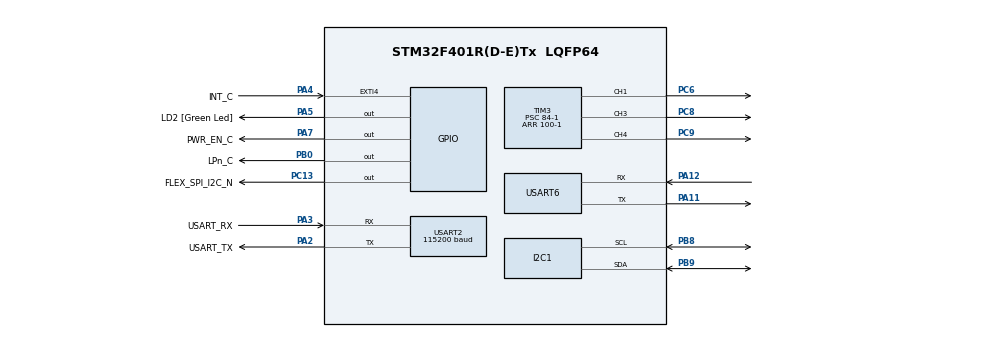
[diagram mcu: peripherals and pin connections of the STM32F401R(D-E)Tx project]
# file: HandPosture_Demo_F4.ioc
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I2C1.I2C_Mode=I2C_Fast
Mcu.Family=STM32F4
Mcu.Name=STM32F401R(D-E)Tx
Mcu.Package=LQFP64
NVIC.EXTI4_IRQn=true\:0\:0\:false\:false\:true\:true\:true\:true
NVIC.PriorityGroup=NVIC_PRIORITYGROUP_0
NVIC.USART2_IRQn=true\:0\:0\:false\:false\:true\:true\:true\:true
PA11.GPIO_PuPd=GPIO_PULLDOWN
PA11.GPIO_Speed=GPIO_SPEED_FREQ_MEDIUM
PA11.Mode=Asynchronous
PA11.Signal=USART6_TX
PA12.GPIO_PuPd=GPIO_PULLDOWN
PA12.GPIO_Speed=GPIO_SPEED_FREQ_MEDIUM
PA12.Mode=Asynchronous
PA12.Signal=USART6_RX
PA13.GPIO_Label=TMS
PA13.Mode=Serial_Wire
PA13.Signal=SYS_JTMS-SWDIO
PA14.GPIO_Label=TCK
PA14.Mode=Serial_Wire
PA14.Signal=SYS_JTCK-SWCLK
PA2.GPIO_Label=USART_TX
PA2.GPIO_Mode=GPIO_MODE_AF_PP
PA2.GPIO_PuPd=GPIO_NOPULL
PA2.GPIO_Speed=GPIO_SPEED_FREQ_LOW
PA2.Mode=Asynchronous
PA2.Signal=USART2_TX
PA3.GPIO_Label=USART_RX
PA3.GPIO_Mode=GPIO_MODE_AF_PP
PA3.GPIO_PuPd=GPIO_NOPULL
PA3.GPIO_Speed=GPIO_SPEED_FREQ_LOW
PA3.Mode=Asynchronous
PA3.Signal=USART2_RX
PA4.GPIO_Label=INT_C
PA4.GPIO_ModeDefaultEXTI=GPIO_MODE_IT_FALLING
PA4.Signal=GPXTI4
PA5.GPIO_Label=LD2 [Green Led]
PA5.GPIO_Mode=GPIO_MODE_OUTPUT_PP
PA5.GPIO_PuPd=GPIO_NOPULL
PA5.GPIO_Speed=GPIO_SPEED_FREQ_LOW
PA5.Signal=GPIO_Output
PA7.GPIO_Label=PWR_EN_C
PA7.GPIO_ModeDefaultOutputPP=GPIO_MODE_OUTPUT_PP
PA7.GPIO_PuPd=GPIO_NOPULL
PA7.GPIO_Speed=GPIO_SPEED_FREQ_LOW
PA7.Signal=GPIO_Output
PB0.GPIO_Label=LPn_C
PB0.GPIO_PuPd=GPIO_NOPULL
PB0.GPIO_Speed=GPIO_SPEED_FREQ_HIGH
PB0.Signal=GPIO_Output
PB8.Mode=I2C
PB8.Signal=I2C1_SCL
PB9.Mode=I2C
PB9.Signal=I2C1_SDA
PC13-ANTI_TAMP.GPIO_Label=FLEX_SPI_I2C_N
PC13-ANTI_TAMP.GPIO_PuPd=GPIO_NOPULL
PC13-ANTI_TAMP.PinState=GPIO_PIN_RESET
PC13-ANTI_TAMP.Signal=GPIO_Output
PC14-OSC32_IN.Mode=LSE-External-Oscillator
PC14-OSC32_IN.Signal=RCC_OSC32_IN
PC15-OSC32_OUT.Mode=LSE-External-Oscillator
PC15-OSC32_OUT.Signal=RCC_OSC32_OUT
PC6.Signal=S_TIM3_CH1
PC8.Signal=S_TIM3_CH3
PC9.Signal=S_TIM3_CH4
PH0\ -\ OSC_IN.Mode=HSE-External-Clock-Source
PH0\ -\ OSC_IN.Signal=RCC_OSC_IN
PH1\ -\ OSC_OUT.Mode=HSE-External-Clock-Source
PH1\ -\ OSC_OUT.Signal=RCC_OSC_OUT
ProjectManager.HeapSize=0x800
ProjectManager.StackSize=0x800
ProjectManager.TargetToolchain=STM32CubeIDE
RCC.48MHZClocksFreq_Value=48000000
RCC.AHBFreq_Value=84000000
RCC.APB1CLKDivider=RCC_HCLK_DIV2
RCC.APB1Freq_Value=42000000
RCC.APB1TimFreq_Value=84000000
RCC.APB2Freq_Value=84000000
RCC.APB2TimFreq_Value=84000000
RCC.CortexFreq_Value=84000000
RCC.HCLKFreq_Value=84000000
RCC.HSE_VALUE=8000000
RCC.HSI_VALUE=16000000
RCC.PLLN=336
RCC.PLLP=RCC_PLLP_DIV4
RCC.PLLQ=7
RCC.SYSCLKFreq_VALUE=84000000
RCC.SYSCLKSource=RCC_SYSCLKSOURCE_PLLCLK
RCC.VCOOutputFreq_Value=336000000
SH.S_TIM3_CH1.0=TIM3_CH1,PWM Generation1 CH1
SH.S_TIM3_CH3.0=TIM3_CH3,PWM Generation3 CH3
SH.S_TIM3_CH4.0=TIM3_CH4,PWM Generation4 CH4
STMicroelectronics.X-CUBE-AI.9.0.0.ActivationBufferSizeList=1024
STMicroelectronics.X-CUBE-AI.9.0.0.ActivationBuffers=pool0
STMicroelectronics.X-CUBE-AI.9.0.0.ActivationNames=pool0
STMicroelectronics.X-CUBE-AI.9.0.0.ActivationSizes=AI_NETWORK_DATA_ACTIVATION_1_SIZE
STMicroelectronics.X-CUBE-AI.9.0.0.HeapSize=0x800
STMicroelectronics.X-CUBE-AI.9.0.0.InternalRamActivationBufferMaxSize=AI_NETWORK_DATA_ACTIVATIONS_SIZE
STMicroelectronics.X-CUBE-AI.9.0.0.LatestDirectoryUsed-259f741db4d4b8b54389044fdb152ca7c530ae305709a885f32d9b1bf1bcc376=C\:\\Users\\LeeJH\\Desktop\\HandPosture
STMicroelectronics.X-CUBE-AI.9.0.0.MaximumNumberOfInputLayer=1
STMicroelectronics.X-CUBE-AI.9.0.0.MaximumNumberOfOutputLayer=1
STMicroelectronics.X-CUBE-AI.9.0.0.MaximumSizeOfInputLayer=1
STMicroelectronics.X-CUBE-AI.9.0.0.MaximumSizeOfOutputLayer=1
STMicroelectronics.X-CUBE-AI.9.0.0.ModelActualCompression-259f741db4d4b8b54389044fdb152ca7c530ae305709a885f32d9b1bf1bcc376=0.0
STMicroelectronics.X-CUBE-AI.9.0.0.ModelCompression-259f741db4d4b8b54389044fdb152ca7c530ae305709a885f32d9b1bf1bcc376=None
STMicroelectronics.X-CUBE-AI.9.0.0.ModelFlashOccupation-259f741db4d4b8b54389044fdb152ca7c530ae305709a885f32d9b1bf1bcc376=11008
STMicroelectronics.X-CUBE-AI.9.0.0.ModelHashList=259f741db4d4b8b54389044fdb152ca7c530ae305709a885f32d9b1bf1bcc376
STMicroelectronics.X-CUBE-AI.9.0.0.ModelKind-259f741db4d4b8b54389044fdb152ca7c530ae305709a885f32d9b1bf1bcc376=KERAS
STMicroelectronics.X-CUBE-AI.9.0.0.ModelMacc-259f741db4d4b8b54389044fdb152ca7c530ae305709a885f32d9b1bf1bcc376=8520
STMicroelectronics.X-CUBE-AI.9.0.0.ModelName-259f741db4d4b8b54389044fdb152ca7c530ae305709a885f32d9b1bf1bcc376=network
STMicroelectronics.X-CUBE-AI.9.0.0.ModelNameList=network
STMicroelectronics.X-CUBE-AI.9.0.0.ModelRamOccupation-259f741db4d4b8b54389044fdb152ca7c530ae305709a885f32d9b1bf1bcc376=1024
STMicroelectronics.X-CUBE-AI.9.0.0.ModelStructureFile-259f741db4d4b8b54389044fdb152ca7c530ae305709a885f32d9b1bf1bcc376=CNN2D_ST_HandPosture_8classes.h5
STMicroelectronics.X-CUBE-AI.9.0.0.ModelType-259f741db4d4b8b54389044fdb152ca7c530ae305709a885f32d9b1bf1bcc376=STM32Cube.AI MCU runtime
STMicroelectronics.X-CUBE-AI.9.0.0.ReadyForCodeGeneration=true
STMicroelectronics.X-CUBE-AI.9.0.0.StackSize=0x800
STMicroelectronics.X-CUBE-AI.9.0.0.WorkingBufferStartAddrList=0xFFFFFFFF
STMicroelectronics.X-CUBE-AI.9.0.0.XAaCUBEAaAICcArtificialOoIntelligenceJjCore=true
STMicroelectronics.X-CUBE-AI.9.0.0.copyWeightToRam-259f741db4d4b8b54389044fdb152ca7c530ae305709a885f32d9b1bf1bcc376=false
STMicroelectronics.X-CUBE-AI.9.0.0.customLayerConfigEnabled-259f741db4d4b8b54389044fdb152ca7c530ae305709a885f32d9b1bf1bcc376=false
STMicroelectronics.X-CUBE-AI.9.0.0.noOnnxIoTranspose-259f741db4d4b8b54389044fdb152ca7c530ae305709a885f32d9b1bf1bcc376=false
STMicroelectronics.X-CUBE-AI.9.0.0.useInputAllocation-259f741db4d4b8b54389044fdb152ca7c530ae305709a885f32d9b1bf1bcc376=true
STMicroelectronics.X-CUBE-AI.9.0.0.useOutputAllocation-259f741db4d4b8b54389044fdb152ca7c530ae305709a885f32d9b1bf1bcc376=true
TIM3.Channel-PWM\ Generation1\ CH1=TIM_CHANNEL_1
TIM3.Channel-PWM\ Generation3\ CH3=TIM_CHANNEL_3
TIM3.Channel-PWM\ Generation4\ CH4=TIM_CHANNEL_4
TIM3.Period=100-1
TIM3.Prescaler=84-1
TIM3.Pulse-PWM\ Generation1\ CH1=0
TIM3.Pulse-PWM\ Generation3\ CH3=0
TIM3.Pulse-PWM\ Generation4\ CH4=0
USART2.BaudRate=115200
USART2.VirtualMode=VM_ASYNC
USART6.VirtualMode=VM_ASYNC
VP_STMicroelectronics.X-CUBE-AI_VS_ArtificialOoIntelligenceJjXAaCUBEAaAI_9.0.0.Mode=ArtificialOoIntelligenceJjXAaCUBEAaAI
VP_TIM3_VS_ClockSourceINT.Mode=Internal
board=NUCLEO-F401RE

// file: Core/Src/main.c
/* USER CODE BEGIN Header */
/**
 ******************************************************************************
 * @file           : main.c
 * @brief          : Main program body
 ******************************************************************************
 * @attention
 *
 * Copyright (c) 2024 STMicroelectronics.
 * All rights reserved.
 *
 * This software is licensed under terms that can be found in the LICENSE file
 * in the root directory of this software component.
 * If no LICENSE file comes with this software, it is provided AS-IS.
 *
 ******************************************************************************
 */
/* USER CODE END Header */
#include "main.h"

/* USER CODE BEGIN Includes */

#include "app_comm.h"
#include "app_sensor.h"
#include "gwmz.h"
#include "gestures_example.h"

/* USER CODE END Includes */

/* USER CODE BEGIN PTD */

/* Classes */
const char *classes_table[NB_CLASSES] = { "None", "FlatHand", "Like", "Love", "Dislike", "BreakTime", "CrossHands", "Fist" };

/* Application context */
AppConfig_TypeDef App_Config;

GW_proc_t gest_predictor;
HT_proc_t hand_tracker;
SEN_data_t sensor_data;

SensorTxData_t SensorTxData;
uint8_t UartTxBuffer[11] = {0,};

/* USER CODE END PTD */

I2C_HandleTypeDef hi2c1;

TIM_HandleTypeDef htim3;

UART_HandleTypeDef huart2;
UART_HandleTypeDef huart6;

void SystemClock_Config(void);
static void MX_GPIO_Init(void);
static void MX_I2C1_Init(void);
static void MX_USART2_UART_Init(void);
static void MX_TIM3_Init(void);
static void MX_USART6_UART_Init(void);
/* USER CODE BEGIN PFP */

static void Software_Init(AppConfig_TypeDef*);

/* USER CODE END PFP */

int main(void)
{

	/* MCU Configuration--------------------------------------------------------*/

	/* Reset of all peripherals, Initializes the Flash interface and the Systick. */
	HAL_Init();

	/* Configure the system clock */
	SystemClock_Config();

	/* USER CODE BEGIN SysInit */

	//__HAL_RCC_CRC_CLK_ENABLE();
	/* USER CODE END SysInit */

	/* Initialize all configured peripherals */
	MX_GPIO_Init();
	MX_I2C1_Init();
	MX_USART2_UART_Init();
	MX_TIM3_Init();
	MX_USART6_UART_Init();
	/* USER CODE BEGIN 2 */

	printf("Start Hand Posture Sensing..\r\n");

	/* Perform HW configuration (sensor) related to the application  */
	Sensor_Init(&App_Config);

	/* Perform SW configuration related to the application  */
	Software_Init(&App_Config);

	/* Initialize the Neural Network library  */
	Network_Init(&App_Config);

	/* Start communication */
	Comm_Start(&App_Config);

	/* Hand gesture lib init */
	gesture_library_init_configure();

	/* Sensor ranging start */
	Sensor_StartRanging(&App_Config);

	printf("Sensor init done..\r\n");

	/* USER CODE END 2 */

	/* Infinite loop */
	while (1)
	{

		/* USER CODE BEGIN 3 */

		/* Handle a command if one has been received */
		Comm_HandleRxCMD(&App_Config);

		if (App_Config.app_run)
		{
			/* Wait for available ranging data */
			Sensor_GetRangingData(&App_Config);

			if (App_Config.new_data_received)
			{
				/* Pre-process data */
				Network_Preprocess(&App_Config);

				/* Run inference */
				Network_Inference(&App_Config);

				/* Post-process data */
				Network_Postprocess(&App_Config);

				Add_SensorTxData_Network(&App_Config, &SensorTxData);

				/* Data set to gesture algorithm */
				SEN_CopyRangingData(&sensor_data, &App_Config.RangingData);

				/* Gesture algorithm Run */
				GW_run(&gest_predictor, &hand_tracker, &sensor_data);

				/* Print gesture algorithm result */
				//Gesture_print_uart();

				Add_SensorTxData_Gesture(&SensorTxData);

				SensorTxData.StartByte = 'A';
				SensorTxData.EndByte = 'Z';
				memcpy(UartTxBuffer, &SensorTxData, sizeof(UartTxBuffer));

				HAL_UART_Transmit(&huart6, UartTxBuffer, sizeof(UartTxBuffer), 1000);

//				printf("Tx Buffer ");
//				for(uint8_t i = 0; i < sizeof(UartTxBuffer); i++)
//				{
//					printf("%d, ", UartTxBuffer[i]);
//				}
//				printf("\r\n");
			}
		}
	}
}
/* USER CODE END 3 */

void SystemClock_Config(void)
{
RCC_OscInitTypeDef RCC_OscInitStruct = { 0 };
RCC_ClkInitTypeDef RCC_ClkInitStruct = { 0 };

/** Configure the main internal regulator output voltage
 */
__HAL_RCC_PWR_CLK_ENABLE();
__HAL_PWR_VOLTAGESCALING_CONFIG(PWR_REGULATOR_VOLTAGE_SCALE2);

/** Initializes the RCC Oscillators according to the specified parameters
 * in the RCC_OscInitTypeDef structure.
 */
RCC_OscInitStruct.OscillatorType = RCC_OSCILLATORTYPE_HSI;
RCC_OscInitStruct.HSIState = RCC_HSI_ON;
RCC_OscInitStruct.HSICalibrationValue = RCC_HSICALIBRATION_DEFAULT;
RCC_OscInitStruct.PLL.PLLState = RCC_PLL_ON;
RCC_OscInitStruct.PLL.PLLSource = RCC_PLLSOURCE_HSI;
RCC_OscInitStruct.PLL.PLLM = 16;
RCC_OscInitStruct.PLL.PLLN = 336;
RCC_OscInitStruct.PLL.PLLP = RCC_PLLP_DIV4;
RCC_OscInitStruct.PLL.PLLQ = 7;
if (HAL_RCC_OscConfig(&RCC_OscInitStruct) != HAL_OK)
{
	Error_Handler();
}

/** Initializes the CPU, AHB and APB buses clocks
 */
RCC_ClkInitStruct.ClockType = RCC_CLOCKTYPE_HCLK | RCC_CLOCKTYPE_SYSCLK
		| RCC_CLOCKTYPE_PCLK1 | RCC_CLOCKTYPE_PCLK2;
RCC_ClkInitStruct.SYSCLKSource = RCC_SYSCLKSOURCE_PLLCLK;
RCC_ClkInitStruct.AHBCLKDivider = RCC_SYSCLK_DIV1;
RCC_ClkInitStruct.APB1CLKDivider = RCC_HCLK_DIV2;
RCC_ClkInitStruct.APB2CLKDivider = RCC_HCLK_DIV1;

if (HAL_RCC_ClockConfig(&RCC_ClkInitStruct, FLASH_LATENCY_2) != HAL_OK)
{
	Error_Handler();
}
}

static void MX_I2C1_Init(void)
{

hi2c1.Instance = I2C1;
hi2c1.Init.ClockSpeed = 400000;
hi2c1.Init.DutyCycle = I2C_DUTYCYCLE_2;
hi2c1.Init.OwnAddress1 = 0;
hi2c1.Init.AddressingMode = I2C_ADDRESSINGMODE_7BIT;
hi2c1.Init.DualAddressMode = I2C_DUALADDRESS_DISABLE;
hi2c1.Init.OwnAddress2 = 0;
hi2c1.Init.GeneralCallMode = I2C_GENERALCALL_DISABLE;
hi2c1.Init.NoStretchMode = I2C_NOSTRETCH_DISABLE;
if (HAL_I2C_Init(&hi2c1) != HAL_OK)
{
	Error_Handler();
}

}

static void MX_TIM3_Init(void)
{

TIM_ClockConfigTypeDef sClockSourceConfig = { 0 };
TIM_MasterConfigTypeDef sMasterConfig = { 0 };
TIM_OC_InitTypeDef sConfigOC = { 0 };

htim3.Instance = TIM3;
htim3.Init.Prescaler = 84 - 1;
htim3.Init.CounterMode = TIM_COUNTERMODE_UP;
htim3.Init.Period = 100 - 1;
htim3.Init.ClockDivision = TIM_CLOCKDIVISION_DIV1;
htim3.Init.AutoReloadPreload = TIM_AUTORELOAD_PRELOAD_DISABLE;
if (HAL_TIM_Base_Init(&htim3) != HAL_OK)
{
	Error_Handler();
}
sClockSourceConfig.ClockSource = TIM_CLOCKSOURCE_INTERNAL;
if (HAL_TIM_ConfigClockSource(&htim3, &sClockSourceConfig) != HAL_OK)
{
	Error_Handler();
}
if (HAL_TIM_PWM_Init(&htim3) != HAL_OK)
{
	Error_Handler();
}
sMasterConfig.MasterOutputTrigger = TIM_TRGO_RESET;
sMasterConfig.MasterSlaveMode = TIM_MASTERSLAVEMODE_DISABLE;
if (HAL_TIMEx_MasterConfigSynchronization(&htim3, &sMasterConfig) != HAL_OK)
{
	Error_Handler();
}
sConfigOC.OCMode = TIM_OCMODE_PWM1;
sConfigOC.Pulse = 0;
sConfigOC.OCPolarity = TIM_OCPOLARITY_HIGH;
sConfigOC.OCFastMode = TIM_OCFAST_DISABLE;
if (HAL_TIM_PWM_ConfigChannel(&htim3, &sConfigOC, TIM_CHANNEL_1) != HAL_OK)
{
	Error_Handler();
}
if (HAL_TIM_PWM_ConfigChannel(&htim3, &sConfigOC, TIM_CHANNEL_3) != HAL_OK)
{
	Error_Handler();
}
if (HAL_TIM_PWM_ConfigChannel(&htim3, &sConfigOC, TIM_CHANNEL_4) != HAL_OK)
{
	Error_Handler();
}
HAL_TIM_MspPostInit(&htim3);

}

static void MX_USART2_UART_Init(void)
{

huart2.Instance = USART2;
huart2.Init.BaudRate = 115200;
huart2.Init.WordLength = UART_WORDLENGTH_8B;
huart2.Init.StopBits = UART_STOPBITS_1;
huart2.Init.Parity = UART_PARITY_NONE;
huart2.Init.Mode = UART_MODE_TX_RX;
huart2.Init.HwFlowCtl = UART_HWCONTROL_NONE;
huart2.Init.OverSampling = UART_OVERSAMPLING_16;
if (HAL_UART_Init(&huart2) != HAL_OK)
{
	Error_Handler();
}

}

static void MX_USART6_UART_Init(void)
{

huart6.Instance = USART6;
huart6.Init.BaudRate = 115200;
huart6.Init.WordLength = UART_WORDLENGTH_8B;
huart6.Init.StopBits = UART_STOPBITS_1;
huart6.Init.Parity = UART_PARITY_NONE;
huart6.Init.Mode = UART_MODE_TX_RX;
huart6.Init.HwFlowCtl = UART_HWCONTROL_NONE;
huart6.Init.OverSampling = UART_OVERSAMPLING_16;
if (HAL_UART_Init(&huart6) != HAL_OK)
{
	Error_Handler();
}

}

static void MX_GPIO_Init(void)
{
GPIO_InitTypeDef GPIO_InitStruct = { 0 };

/* GPIO Ports Clock Enable */
__HAL_RCC_GPIOC_CLK_ENABLE();
__HAL_RCC_GPIOH_CLK_ENABLE();
__HAL_RCC_GPIOA_CLK_ENABLE();
__HAL_RCC_GPIOB_CLK_ENABLE();

/*Configure GPIO pin Output Level */
HAL_GPIO_WritePin(FLEX_SPI_I2C_N_GPIO_Port, FLEX_SPI_I2C_N_Pin, GPIO_PIN_RESET);

/*Configure GPIO pin Output Level */
HAL_GPIO_WritePin(GPIOA, LD2_Pin | PWR_EN_C_Pin, GPIO_PIN_RESET);

/*Configure GPIO pin Output Level */
HAL_GPIO_WritePin(LPn_C_GPIO_Port, LPn_C_Pin, GPIO_PIN_RESET);

/*Configure GPIO pin : FLEX_SPI_I2C_N_Pin */
GPIO_InitStruct.Pin = FLEX_SPI_I2C_N_Pin;
GPIO_InitStruct.Mode = GPIO_MODE_OUTPUT_PP;
GPIO_InitStruct.Pull = GPIO_NOPULL;
GPIO_InitStruct.Speed = GPIO_SPEED_FREQ_LOW;
HAL_GPIO_Init(FLEX_SPI_I2C_N_GPIO_Port, &GPIO_InitStruct);

/*Configure GPIO pin : INT_C_Pin */
GPIO_InitStruct.Pin = INT_C_Pin;
GPIO_InitStruct.Mode = GPIO_MODE_IT_FALLING;
GPIO_InitStruct.Pull = GPIO_NOPULL;
HAL_GPIO_Init(INT_C_GPIO_Port, &GPIO_InitStruct);

/*Configure GPIO pins : LD2_Pin PWR_EN_C_Pin */
GPIO_InitStruct.Pin = LD2_Pin | PWR_EN_C_Pin;
GPIO_InitStruct.Mode = GPIO_MODE_OUTPUT_PP;
GPIO_InitStruct.Pull = GPIO_NOPULL;
GPIO_InitStruct.Speed = GPIO_SPEED_FREQ_LOW;
HAL_GPIO_Init(GPIOA, &GPIO_InitStruct);

/*Configure GPIO pin : LPn_C_Pin */
GPIO_InitStruct.Pin = LPn_C_Pin;
GPIO_InitStruct.Mode = GPIO_MODE_OUTPUT_PP;
GPIO_InitStruct.Pull = GPIO_NOPULL;
GPIO_InitStruct.Speed = GPIO_SPEED_FREQ_HIGH;
HAL_GPIO_Init(LPn_C_GPIO_Port, &GPIO_InitStruct);

/* EXTI interrupt init*/
HAL_NVIC_SetPriority(EXTI4_IRQn, 0, 0);
HAL_NVIC_EnableIRQ(EXTI4_IRQn);

/* USER CODE BEGIN MX_GPIO_Init_2 */

//Set I2C enable
HAL_GPIO_WritePin(FLEX_SPI_I2C_N_GPIO_Port, FLEX_SPI_I2C_N_Pin, GPIO_PIN_RESET);
// Sensor Reset
HAL_GPIO_WritePin(PWR_EN_C_GPIO_Port, PWR_EN_C_Pin, GPIO_PIN_RESET);
HAL_GPIO_WritePin(LPn_C_GPIO_Port, LPn_C_Pin, GPIO_PIN_RESET);
HAL_Delay(100);
HAL_GPIO_WritePin(PWR_EN_C_GPIO_Port, PWR_EN_C_Pin, GPIO_PIN_SET);
HAL_Delay(100);
HAL_GPIO_WritePin(LPn_C_GPIO_Port, LPn_C_Pin, GPIO_PIN_SET);

/* USER CODE END MX_GPIO_Init_2 */
}

/* USER CODE BEGIN 4 */

/**
 * @brief Initializes the application context structure
 * @param App_Config_Ptr pointer to application context
 */
static void Software_Init(AppConfig_TypeDef *App_Config_Ptr)
{
/* Initialize application context values */
App_Config_Ptr->Uart_RxRcvIndex = 0;
App_Config_Ptr->Uart_nOverrun = 0;
App_Config_Ptr->UartComm_CmdReady = 0;
App_Config_Ptr->frame_count = 0;
App_Config_Ptr->app_run = true;
App_Config_Ptr->new_data_received = false;
App_Config_Ptr->params_modif = true;

App_Config_Ptr->Params.gesture_gui = 0;
App_Config_Ptr->Params.Resolution = SENSOR__MAX_NB_OF_ZONES;
App_Config_Ptr->Params.RangingPeriod = 50;
App_Config_Ptr->Params.IntegrationTime = 10;

App_Config_Ptr->Params.SensorOrientation = SEN_ORIENTATION;
App_Config_Ptr->Params.ranging_ignore_dmax_mm = GW_MAX_DISTANCE_MM;
App_Config_Ptr->Params.lc_stable_threshold = LC_STABLE_THRESHOLD;
App_Config_Ptr->Params.lc_stable_time_threshold = LC_STABLE_TIME_THRESHOLD;
App_Config_Ptr->Params.lc_maxDistance_mm = LC_MAXDISTANCE_MM;
App_Config_Ptr->Params.lc_minDistance_mm = LC_MINDISTANCE_MM;
App_Config_Ptr->Params.gesture_selection = GW_DETECTION_LIMITATION;
App_Config_Ptr->Params.double_tap_ts_threshold = DOUBLE_TAP_TS_DIFF_THRESHOLD;
App_Config_Ptr->Params.screening_ms = GW_SCREENING_TIME_MS;
App_Config_Ptr->Params.analysis_ms = GW_ANALYSIS_TIME_MS;
App_Config_Ptr->Params.dead_ms = GW_DEAD_TIME_MS;
App_Config_Ptr->Params.closer_mm = GW_CLOSER_DELTA_MM;
App_Config_Ptr->Params.min_speed_x_mm_s = GW_MIN_SPEED_X_MM_S;
App_Config_Ptr->Params.min_speed_y_mm_s = GW_MIN_SPEED_Y_MM_S;
App_Config_Ptr->Params.min_speed_z_mm_s = GW_MIN_SPEED_Z_MM_S;
App_Config_Ptr->Params.max_speed_mm_s = GW_MAX_SPEED_MM_S;
App_Config_Ptr->Params.min_vx_vy = GW_MIN_VX_ON_VY;
App_Config_Ptr->Params.min_vx_vz = GW_MIN_VX_ON_VZ;
App_Config_Ptr->Params.min_vy_vx = GW_MIN_VY_ON_VX;
App_Config_Ptr->Params.min_vy_vz = GW_MIN_VY_ON_VZ;
App_Config_Ptr->Params.min_vz_vx = GW_MIN_VZ_ON_VX;
App_Config_Ptr->Params.min_vz_vy = GW_MIN_VZ_ON_VY;
App_Config_Ptr->Params.min_user_filtering_mm = GW_MIN_USER_FILTERING_MM;
App_Config_Ptr->Params.max_user_filtering_mm = GW_MAX_DISTANCE_MM + GW_FILTERING_AREA_MM;
App_Config_Ptr->Params.filtering_area_mm = GW_FILTERING_AREA_MM;
}

/* USER CODE END 4 */

void Error_Handler(void)
{
/* USER CODE BEGIN Error_Handler_Debug */
/* User can add his own implementation to report the HAL error return state */
__disable_irq();
while (1)
{
	HAL_GPIO_WritePin(LD2_GPIO_Port, LD2_Pin, GPIO_PIN_SET);
	HAL_Delay(200);
	HAL_GPIO_WritePin(LD2_GPIO_Port, LD2_Pin, GPIO_PIN_RESET);
	HAL_Delay(200);
}
/* USER CODE END Error_Handler_Debug */
}
